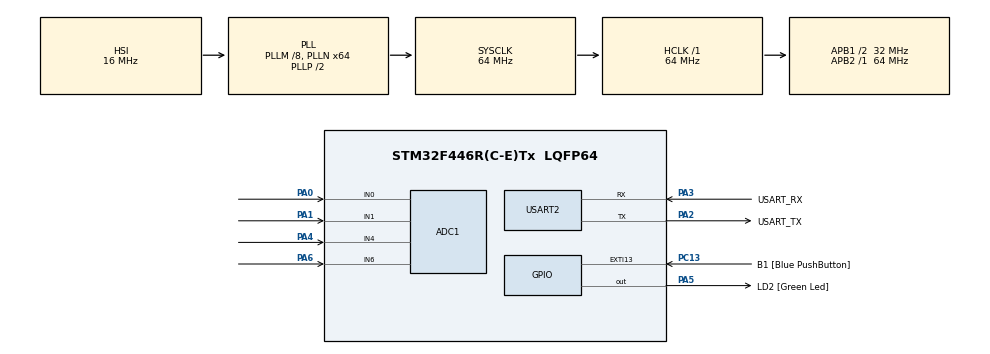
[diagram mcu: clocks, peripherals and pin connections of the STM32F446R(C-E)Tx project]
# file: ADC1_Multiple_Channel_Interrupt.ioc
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ADC1.Channel-0\#ChannelRegularConversion=ADC_CHANNEL_0
ADC1.ContinuousConvMode=ENABLE
ADC1.EOCSelection=ADC_EOC_SEQ_CONV
ADC1.NbrOfConversionFlag=1
ADC1.Rank-0\#ChannelRegularConversion=1
ADC1.SamplingTime-0\#ChannelRegularConversion=ADC_SAMPLETIME_480CYCLES
ADC1.master=1
Mcu.Family=STM32F4
Mcu.Name=STM32F446R(C-E)Tx
Mcu.Package=LQFP64
NVIC.ADC_IRQn=true\:0\:1\:false\:false\:true\:true\:true\:true
NVIC.PriorityGroup=NVIC_PRIORITYGROUP_0
PA0-WKUP.Signal=ADCx_IN0
PA1.Signal=ADCx_IN1
PA13.GPIO_Label=TMS
PA13.Mode=Serial_Wire
PA13.Signal=SYS_JTMS-SWDIO
PA14.GPIO_Label=TCK
PA14.Mode=Serial_Wire
PA14.Signal=SYS_JTCK-SWCLK
PA2.GPIO_Label=USART_TX
PA2.Mode=Asynchronous
PA2.Signal=USART2_TX
PA3.GPIO_Label=USART_RX
PA3.Mode=Asynchronous
PA3.Signal=USART2_RX
PA4.Signal=ADCx_IN4
PA5.GPIO_Label=LD2 [Green Led]
PA5.Signal=GPIO_Output
PA6.Signal=ADCx_IN6
PB3.GPIO_Label=SWO
PB3.Signal=SYS_JTDO-SWO
PC13.GPIO_Label=B1 [Blue PushButton]
PC13.GPIO_ModeDefaultEXTI=GPIO_MODE_IT_FALLING
PC13.Signal=GPXTI13
PC14-OSC32_IN.Mode=LSE-External-Oscillator
PC14-OSC32_IN.Signal=RCC_OSC32_IN
PC15-OSC32_OUT.Mode=LSE-External-Oscillator
PC15-OSC32_OUT.Signal=RCC_OSC32_OUT
PH0-OSC_IN.Mode=HSE-External-Oscillator
PH0-OSC_IN.Signal=RCC_OSC_IN
PH1-OSC_OUT.Mode=HSE-External-Oscillator
PH1-OSC_OUT.Signal=RCC_OSC_OUT
ProjectManager.HeapSize=0x200
ProjectManager.StackSize=0x400
ProjectManager.TargetToolchain=STM32CubeIDE
RCC.48MHZClocksFreq_Value=84000000
RCC.AHBFreq_Value=64000000
RCC.APB1CLKDivider=RCC_HCLK_DIV2
RCC.APB1Freq_Value=32000000
RCC.APB1TimFreq_Value=64000000
RCC.APB2Freq_Value=64000000
RCC.APB2TimFreq_Value=64000000
RCC.CortexFreq_Value=64000000
RCC.FLatency-AdvancedSettings=FLASH_LATENCY_2
RCC.HCLKFreq_Value=64000000
RCC.HSE_VALUE=8000000
RCC.HSI_VALUE=16000000
RCC.PLLM=8
RCC.PLLN=64
RCC.SYSCLKFreq_VALUE=64000000
RCC.SYSCLKSource=RCC_SYSCLKSOURCE_PLLCLK
RCC.USBFreq_Value=64000000
RCC.VCOOutputFreq_Value=128000000
SH.ADCx_IN0.0=ADC1_IN0,IN0
SH.ADCx_IN1.0=ADC1_IN1,IN1
SH.ADCx_IN4.0=ADC1_IN4,IN4
SH.ADCx_IN6.0=ADC1_IN6,IN6
USART2.VirtualMode=VM_ASYNC
board=NUCLEO-F446RE

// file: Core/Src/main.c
/* USER CODE BEGIN Header */
/**
  ******************************************************************************
  * @file           : main.c
  * @brief          : Main program body
  ******************************************************************************
  * @attention
  *
  * Copyright (c) 2024 STMicroelectronics.
  * All rights reserved.
  *
  * This software is licensed under terms that can be found in the LICENSE file
  * in the root directory of this software component.
  * If no LICENSE file comes with this software, it is provided AS-IS.
  *
  ******************************************************************************
  */
/* USER CODE END Header */
#include "main.h"

ADC_HandleTypeDef hadc1;

UART_HandleTypeDef huart2;

/* USER CODE BEGIN PV */

uint32_t ADC_Buffer[4] ;
uint8_t flag = 0;
/* USER CODE END PV */

void SystemClock_Config(void);
static void MX_GPIO_Init(void);
static void MX_USART2_UART_Init(void);
static void MX_ADC1_Init(void);
/* USER CODE BEGIN PFP */

void Channel_Select(uint32_t ch) {

  ADC_ChannelConfTypeDef sConfig = {0};
  sConfig.Channel = ch;
  sConfig.Rank = 1;
  sConfig.SamplingTime = ADC_SAMPLETIME_480CYCLES;
  if (HAL_ADC_ConfigChannel(&hadc1, &sConfig) != HAL_OK)
  {
	Error_Handler();
  }

}
/* USER CODE END PFP */

/* USER CODE BEGIN 0 */
uint32_t channel_sel[] = {ADC_CHANNEL_0,ADC_CHANNEL_1,ADC_CHANNEL_4,ADC_CHANNEL_6};
int adc_counter = 0;
void HAL_ADC_ConvCpltCallback(ADC_HandleTypeDef* hadc)
{
  /* Prevent unused argument(s) compilation warning */

	ADC_Buffer[adc_counter] = hadc->Instance->DR;
	adc_counter++;

	if(adc_counter > 3) {
		adc_counter = 0;
	}
	Channel_Select(channel_sel[adc_counter]);
	HAL_ADC_Start_IT(hadc);
}

/* USER CODE END 0 */

int main(void)
{

  /* MCU Configuration--------------------------------------------------------*/

  /* Reset of all peripherals, Initializes the Flash interface and the Systick. */
  HAL_Init();

  /* Configure the system clock */
  SystemClock_Config();

  /* Initialize all configured peripherals */
  MX_GPIO_Init();
  MX_USART2_UART_Init();
  MX_ADC1_Init();
  /* USER CODE BEGIN 2 */
  Channel_Select(channel_sel[adc_counter]);
  HAL_ADC_Start_IT(&hadc1);
  /* USER CODE END 2 */

  /* Infinite loop */
  while (1)
  {

  }
}

void SystemClock_Config(void)
{
  RCC_OscInitTypeDef RCC_OscInitStruct = {0};
  RCC_ClkInitTypeDef RCC_ClkInitStruct = {0};

  /** Configure the main internal regulator output voltage
  */
  __HAL_RCC_PWR_CLK_ENABLE();
  __HAL_PWR_VOLTAGESCALING_CONFIG(PWR_REGULATOR_VOLTAGE_SCALE3);

  /** Initializes the RCC Oscillators according to the specified parameters
  * in the RCC_OscInitTypeDef structure.
  */
  RCC_OscInitStruct.OscillatorType = RCC_OSCILLATORTYPE_HSI;
  RCC_OscInitStruct.HSIState = RCC_HSI_ON;
  RCC_OscInitStruct.HSICalibrationValue = RCC_HSICALIBRATION_DEFAULT;
  RCC_OscInitStruct.PLL.PLLState = RCC_PLL_ON;
  RCC_OscInitStruct.PLL.PLLSource = RCC_PLLSOURCE_HSI;
  RCC_OscInitStruct.PLL.PLLM = 8;
  RCC_OscInitStruct.PLL.PLLN = 64;
  RCC_OscInitStruct.PLL.PLLP = RCC_PLLP_DIV2;
  RCC_OscInitStruct.PLL.PLLQ = 2;
  RCC_OscInitStruct.PLL.PLLR = 2;
  if (HAL_RCC_OscConfig(&RCC_OscInitStruct) != HAL_OK)
  {
    Error_Handler();
  }

  /** Initializes the CPU, AHB and APB buses clocks
  */
  RCC_ClkInitStruct.ClockType = RCC_CLOCKTYPE_HCLK|RCC_CLOCKTYPE_SYSCLK
                              |RCC_CLOCKTYPE_PCLK1|RCC_CLOCKTYPE_PCLK2;
  RCC_ClkInitStruct.SYSCLKSource = RCC_SYSCLKSOURCE_PLLCLK;
  RCC_ClkInitStruct.AHBCLKDivider = RCC_SYSCLK_DIV1;
  RCC_ClkInitStruct.APB1CLKDivider = RCC_HCLK_DIV2;
  RCC_ClkInitStruct.APB2CLKDivider = RCC_HCLK_DIV1;

  if (HAL_RCC_ClockConfig(&RCC_ClkInitStruct, FLASH_LATENCY_2) != HAL_OK)
  {
    Error_Handler();
  }
}

static void MX_ADC1_Init(void)
{

  ADC_ChannelConfTypeDef sConfig = {0};

  /** Configure the global features of the ADC (Clock, Resolution, Data Alignment and number of conversion)
  */
  hadc1.Instance = ADC1;
  hadc1.Init.ClockPrescaler = ADC_CLOCK_SYNC_PCLK_DIV2;
  hadc1.Init.Resolution = ADC_RESOLUTION_12B;
  hadc1.Init.ScanConvMode = DISABLE;
  hadc1.Init.ContinuousConvMode = ENABLE;
  hadc1.Init.DiscontinuousConvMode = DISABLE;
  hadc1.Init.ExternalTrigConvEdge = ADC_EXTERNALTRIGCONVEDGE_NONE;
  hadc1.Init.ExternalTrigConv = ADC_SOFTWARE_START;
  hadc1.Init.DataAlign = ADC_DATAALIGN_RIGHT;
  hadc1.Init.NbrOfConversion = 1;
  hadc1.Init.DMAContinuousRequests = DISABLE;
  hadc1.Init.EOCSelection = ADC_EOC_SEQ_CONV;
  if (HAL_ADC_Init(&hadc1) != HAL_OK)
  {
    Error_Handler();
  }

  /** Configure for the selected ADC regular channel its corresponding rank in the sequencer and its sample time.
  */
  sConfig.Channel = ADC_CHANNEL_0;
  sConfig.Rank = 1;
  sConfig.SamplingTime = ADC_SAMPLETIME_480CYCLES;
  if (HAL_ADC_ConfigChannel(&hadc1, &sConfig) != HAL_OK)
  {
    Error_Handler();
  }

}

static void MX_USART2_UART_Init(void)
{

  huart2.Instance = USART2;
  huart2.Init.BaudRate = 115200;
  huart2.Init.WordLength = UART_WORDLENGTH_8B;
  huart2.Init.StopBits = UART_STOPBITS_1;
  huart2.Init.Parity = UART_PARITY_NONE;
  huart2.Init.Mode = UART_MODE_TX_RX;
  huart2.Init.HwFlowCtl = UART_HWCONTROL_NONE;
  huart2.Init.OverSampling = UART_OVERSAMPLING_16;
  if (HAL_UART_Init(&huart2) != HAL_OK)
  {
    Error_Handler();
  }

}

static void MX_GPIO_Init(void)
{
  GPIO_InitTypeDef GPIO_InitStruct = {0};

  /* GPIO Ports Clock Enable */
  __HAL_RCC_GPIOC_CLK_ENABLE();
  __HAL_RCC_GPIOH_CLK_ENABLE();
  __HAL_RCC_GPIOA_CLK_ENABLE();
  __HAL_RCC_GPIOB_CLK_ENABLE();

  /*Configure GPIO pin Output Level */
  HAL_GPIO_WritePin(LD2_GPIO_Port, LD2_Pin, GPIO_PIN_RESET);

  /*Configure GPIO pin : B1_Pin */
  GPIO_InitStruct.Pin = B1_Pin;
  GPIO_InitStruct.Mode = GPIO_MODE_IT_FALLING;
  GPIO_InitStruct.Pull = GPIO_NOPULL;
  HAL_GPIO_Init(B1_GPIO_Port, &GPIO_InitStruct);

  /*Configure GPIO pin : LD2_Pin */
  GPIO_InitStruct.Pin = LD2_Pin;
  GPIO_InitStruct.Mode = GPIO_MODE_OUTPUT_PP;
  GPIO_InitStruct.Pull = GPIO_NOPULL;
  GPIO_InitStruct.Speed = GPIO_SPEED_FREQ_LOW;
  HAL_GPIO_Init(LD2_GPIO_Port, &GPIO_InitStruct);

}

void Error_Handler(void)
{
  __disable_irq();
  while (1)
  {
  }
}
